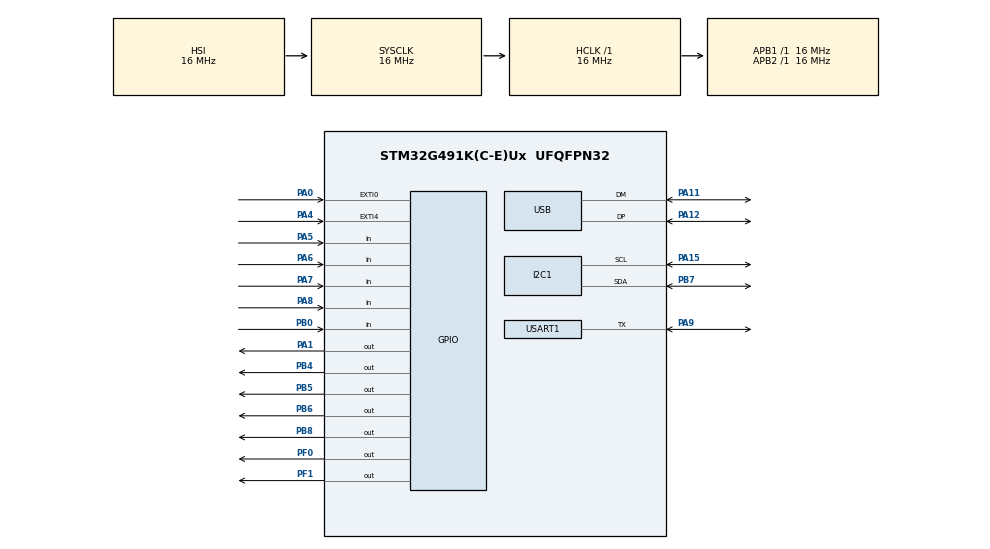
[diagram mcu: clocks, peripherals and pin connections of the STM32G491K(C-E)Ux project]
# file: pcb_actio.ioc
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I2C1.Timing=0x00503D58
Mcu.Family=STM32G4
Mcu.Name=STM32G491K(C-E)Ux
Mcu.Package=UFQFPN32
NVIC.EXTI0_IRQn=true\:0\:0\:false\:false\:true\:true\:true\:true
NVIC.EXTI4_IRQn=true\:0\:0\:false\:false\:true\:true\:true\:true
NVIC.PriorityGroup=NVIC_PRIORITYGROUP_4
NVIC.TIM1_UP_TIM16_IRQn=true\:0\:0\:false\:false\:true\:true\:true\:true
NVIC.USB_LP_IRQn=true\:0\:0\:false\:false\:true\:false\:true\:true
PA0.GPIO_ModeDefaultEXTI=GPIO_MODE_IT_RISING
PA0.GPIO_PuPd=GPIO_PULLUP
PA0.Signal=GPXTI0
PA1.Signal=GPIO_Output
PA10.Signal=USART1_RX
PA11.Mode=Device
PA11.Signal=USB_DM
PA12.Mode=Device
PA12.Signal=USB_DP
PA15.Mode=I2C
PA15.Signal=I2C1_SCL
PA4.GPIO_ModeDefaultEXTI=GPIO_MODE_IT_RISING_FALLING
PA4.GPIO_PuPd=GPIO_PULLUP
PA4.Signal=GPXTI4
PA5.GPIO_PuPd=GPIO_PULLUP
PA5.Signal=GPIO_Input
PA6.GPIO_PuPd=GPIO_PULLUP
PA6.Signal=GPIO_Input
PA7.GPIO_PuPd=GPIO_PULLUP
PA7.Signal=GPIO_Input
PA8.GPIO_PuPd=GPIO_PULLUP
PA8.Signal=GPIO_Input
PA9.Mode=Half_duplex(single_wire_mode)
PA9.Signal=USART1_TX
PB0.GPIO_PuPd=GPIO_PULLUP
PB0.Signal=GPIO_Input
PB4.Signal=GPIO_Output
PB5.Signal=GPIO_Output
PB6.Signal=GPIO_Output
PB7.Mode=I2C
PB7.Signal=I2C1_SDA
PB8-BOOT0.Signal=GPIO_Output
PF0-OSC_IN.Signal=GPIO_Output
PF1-OSC_OUT.Signal=GPIO_Output
ProjectManager.HeapSize=0x200
ProjectManager.StackSize=0x400
ProjectManager.TargetToolchain=CMake
RCC.AHBFreq_Value=16000000
RCC.APB1Freq_Value=16000000
RCC.APB1TimFreq_Value=16000000
RCC.APB2Freq_Value=16000000
RCC.APB2TimFreq_Value=16000000
RCC.CortexFreq_Value=16000000
RCC.EXTERNAL_CLOCK_VALUE=12288000
RCC.HCLKFreq_Value=16000000
RCC.HSE_VALUE=8000000
RCC.HSI48_VALUE=48000000
RCC.HSI_VALUE=16000000
RCC.LSE_VALUE=32768
RCC.SYSCLKFreq_VALUE=16000000
RCC.VCOOutputFreq_Value=128000000
TIM1.AutoReloadPreload=TIM_AUTORELOAD_PRELOAD_ENABLE
TIM1.Channel-PWM\ Generation1\ No\ Output=TIM_CHANNEL_1
TIM1.PeriodNoDither=499
TIM1.Prescaler=15999
USART1.VirtualMode-Half_duplex(single_wire_mode)=VM_ASYNC
USB_DEVICE.CLASS_NAME_FS=CDC
USB_DEVICE.VirtualMode=Cdc
USB_DEVICE.VirtualModeFS=Cdc_FS
VP_SYS_VS_DBSignals.Mode=DisableDeadBatterySignals
VP_TIM1_VS_ClockSourceINT.Mode=Internal
VP_TIM1_VS_no_output1.Mode=PWM Generation1 No Output
VP_USB_DEVICE_VS_USB_DEVICE_CDC_FS.Mode=CDC_FS
board=custom

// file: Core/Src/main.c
/* USER CODE BEGIN Header */
/**
  ******************************************************************************
  * @file           : main.c
  * @brief          : Main program body
  ******************************************************************************
  * @attention
  *
  * Copyright (c) 2025 STMicroelectronics.
  * All rights reserved.
  *
  * This software is licensed under terms that can be found in the LICENSE file
  * in the root directory of this software component.
  * If no LICENSE file comes with this software, it is provided AS-IS.
  *
  ******************************************************************************
  */
/* USER CODE END Header */
#include "main.h"
#include "usb_device.h"

/* USER CODE BEGIN Includes */
#include "actio.h"
#include "comm.h"
/* USER CODE END Includes */

I2C_HandleTypeDef hi2c1;

TIM_HandleTypeDef htim1;

UART_HandleTypeDef huart1;

/* USER CODE BEGIN PV */
Actionneurs act;
/* USER CODE END PV */

void SystemClock_Config(void);
static void MX_GPIO_Init(void);
static void MX_I2C1_Init(void);
static void MX_USART1_UART_Init(void);
static void MX_TIM1_Init(void);

/* USER CODE BEGIN 0 */
void HAL_GPIO_EXTI_Callback(uint16_t GPIO_Pin){
	if(GPIO_Pin == GPIO_PIN_0){
		if(tiretteStatus()){
			queue_event("TIR", "START");
			act.enJeu = 1;
			act.armementTirette = 0;
		}
	} else if(GPIO_Pin == GPIO_PIN_4){
		if(GPIO_PIN_SET == HAL_GPIO_ReadPin(GPIOA, GPIO_PIN_4)){
			queue_event("TIR", "ARM");
		} else {
			queue_event("TIR", "DIS");
			disarmTirette();
		}
	}
}

void HAL_TIM_PeriodElapsedCallback(TIM_HandleTypeDef *htim)
{
  if (htim->Instance == TIM1)
  {
    if(act.armementTirette){
    	// Clignottement sur tirette armee
    	if(act.etatLedArmement){
    		PCA9685_LEDOff(10);
    		act.etatLedArmement = 0;
    	} else {
    		PCA9685_LEDOn(10);
    		act.etatLedArmement = 1;
    	}
    } else {
    	if(act.enJeu){
    		// Eteint en jeu
    		PCA9685_LEDOff(10);
    	} else {
    		// Allume en attente d'armement
    		PCA9685_LEDOn(10);
    	}
    }
  }
}
/* USER CODE END 0 */

int main(void)
{

  /* MCU Configuration--------------------------------------------------------*/

  /* Reset of all peripherals, Initializes the Flash interface and the Systick. */
  HAL_Init();

  /* Configure the system clock */
  SystemClock_Config();

  /* Initialize all configured peripherals */
  MX_GPIO_Init();
  MX_I2C1_Init();
  MX_USART1_UART_Init();
  MX_USB_Device_Init();
  MX_TIM1_Init();
  /* USER CODE BEGIN 2 */
  HAL_TIM_Base_Start_IT(&htim1);
  initActionneurs();
  PCA9685_LEDOn(10);
  /* USER CODE END 2 */

  /* Infinite loop */
  while (1)
  {

  }
}

void SystemClock_Config(void)
{
  RCC_OscInitTypeDef RCC_OscInitStruct = {0};
  RCC_ClkInitTypeDef RCC_ClkInitStruct = {0};

  /** Configure the main internal regulator output voltage
  */
  HAL_PWREx_ControlVoltageScaling(PWR_REGULATOR_VOLTAGE_SCALE1);

  /** Initializes the RCC Oscillators according to the specified parameters
  * in the RCC_OscInitTypeDef structure.
  */
  RCC_OscInitStruct.OscillatorType = RCC_OSCILLATORTYPE_HSI|RCC_OSCILLATORTYPE_HSI48;
  RCC_OscInitStruct.HSIState = RCC_HSI_ON;
  RCC_OscInitStruct.HSICalibrationValue = RCC_HSICALIBRATION_DEFAULT;
  RCC_OscInitStruct.HSI48State = RCC_HSI48_ON;
  RCC_OscInitStruct.PLL.PLLState = RCC_PLL_NONE;
  if (HAL_RCC_OscConfig(&RCC_OscInitStruct) != HAL_OK)
  {
    Error_Handler();
  }

  /** Initializes the CPU, AHB and APB buses clocks
  */
  RCC_ClkInitStruct.ClockType = RCC_CLOCKTYPE_HCLK|RCC_CLOCKTYPE_SYSCLK
                              |RCC_CLOCKTYPE_PCLK1|RCC_CLOCKTYPE_PCLK2;
  RCC_ClkInitStruct.SYSCLKSource = RCC_SYSCLKSOURCE_HSI;
  RCC_ClkInitStruct.AHBCLKDivider = RCC_SYSCLK_DIV1;
  RCC_ClkInitStruct.APB1CLKDivider = RCC_HCLK_DIV1;
  RCC_ClkInitStruct.APB2CLKDivider = RCC_HCLK_DIV1;

  if (HAL_RCC_ClockConfig(&RCC_ClkInitStruct, FLASH_LATENCY_0) != HAL_OK)
  {
    Error_Handler();
  }
}

static void MX_I2C1_Init(void)
{

  hi2c1.Instance = I2C1;
  hi2c1.Init.Timing = 0x00503D58;
  hi2c1.Init.OwnAddress1 = 0;
  hi2c1.Init.AddressingMode = I2C_ADDRESSINGMODE_7BIT;
  hi2c1.Init.DualAddressMode = I2C_DUALADDRESS_DISABLE;
  hi2c1.Init.OwnAddress2 = 0;
  hi2c1.Init.OwnAddress2Masks = I2C_OA2_NOMASK;
  hi2c1.Init.GeneralCallMode = I2C_GENERALCALL_DISABLE;
  hi2c1.Init.NoStretchMode = I2C_NOSTRETCH_DISABLE;
  if (HAL_I2C_Init(&hi2c1) != HAL_OK)
  {
    Error_Handler();
  }

  /** Configure Analogue filter
  */
  if (HAL_I2CEx_ConfigAnalogFilter(&hi2c1, I2C_ANALOGFILTER_ENABLE) != HAL_OK)
  {
    Error_Handler();
  }

  /** Configure Digital filter
  */
  if (HAL_I2CEx_ConfigDigitalFilter(&hi2c1, 0) != HAL_OK)
  {
    Error_Handler();
  }

}

static void MX_TIM1_Init(void)
{

  TIM_ClockConfigTypeDef sClockSourceConfig = {0};
  TIM_MasterConfigTypeDef sMasterConfig = {0};
  TIM_OC_InitTypeDef sConfigOC = {0};
  TIM_BreakDeadTimeConfigTypeDef sBreakDeadTimeConfig = {0};

  htim1.Instance = TIM1;
  htim1.Init.Prescaler = 15999;
  htim1.Init.CounterMode = TIM_COUNTERMODE_UP;
  htim1.Init.Period = 499;
  htim1.Init.ClockDivision = TIM_CLOCKDIVISION_DIV1;
  htim1.Init.RepetitionCounter = 0;
  htim1.Init.AutoReloadPreload = TIM_AUTORELOAD_PRELOAD_ENABLE;
  if (HAL_TIM_Base_Init(&htim1) != HAL_OK)
  {
    Error_Handler();
  }
  sClockSourceConfig.ClockSource = TIM_CLOCKSOURCE_INTERNAL;
  if (HAL_TIM_ConfigClockSource(&htim1, &sClockSourceConfig) != HAL_OK)
  {
    Error_Handler();
  }
  if (HAL_TIM_PWM_Init(&htim1) != HAL_OK)
  {
    Error_Handler();
  }
  sMasterConfig.MasterOutputTrigger = TIM_TRGO_RESET;
  sMasterConfig.MasterOutputTrigger2 = TIM_TRGO2_RESET;
  sMasterConfig.MasterSlaveMode = TIM_MASTERSLAVEMODE_DISABLE;
  if (HAL_TIMEx_MasterConfigSynchronization(&htim1, &sMasterConfig) != HAL_OK)
  {
    Error_Handler();
  }
  sConfigOC.OCMode = TIM_OCMODE_PWM1;
  sConfigOC.Pulse = 0;
  sConfigOC.OCPolarity = TIM_OCPOLARITY_HIGH;
  sConfigOC.OCNPolarity = TIM_OCNPOLARITY_HIGH;
  sConfigOC.OCFastMode = TIM_OCFAST_DISABLE;
  sConfigOC.OCIdleState = TIM_OCIDLESTATE_RESET;
  sConfigOC.OCNIdleState = TIM_OCNIDLESTATE_RESET;
  if (HAL_TIM_PWM_ConfigChannel(&htim1, &sConfigOC, TIM_CHANNEL_1) != HAL_OK)
  {
    Error_Handler();
  }
  sBreakDeadTimeConfig.OffStateRunMode = TIM_OSSR_DISABLE;
  sBreakDeadTimeConfig.OffStateIDLEMode = TIM_OSSI_DISABLE;
  sBreakDeadTimeConfig.LockLevel = TIM_LOCKLEVEL_OFF;
  sBreakDeadTimeConfig.DeadTime = 0;
  sBreakDeadTimeConfig.BreakState = TIM_BREAK_DISABLE;
  sBreakDeadTimeConfig.BreakPolarity = TIM_BREAKPOLARITY_HIGH;
  sBreakDeadTimeConfig.BreakFilter = 0;
  sBreakDeadTimeConfig.BreakAFMode = TIM_BREAK_AFMODE_INPUT;
  sBreakDeadTimeConfig.Break2State = TIM_BREAK2_DISABLE;
  sBreakDeadTimeConfig.Break2Polarity = TIM_BREAK2POLARITY_HIGH;
  sBreakDeadTimeConfig.Break2Filter = 0;
  sBreakDeadTimeConfig.Break2AFMode = TIM_BREAK_AFMODE_INPUT;
  sBreakDeadTimeConfig.AutomaticOutput = TIM_AUTOMATICOUTPUT_DISABLE;
  if (HAL_TIMEx_ConfigBreakDeadTime(&htim1, &sBreakDeadTimeConfig) != HAL_OK)
  {
    Error_Handler();
  }

}

static void MX_USART1_UART_Init(void)
{

  huart1.Instance = USART1;
  huart1.Init.BaudRate = 115200;
  huart1.Init.WordLength = UART_WORDLENGTH_8B;
  huart1.Init.StopBits = UART_STOPBITS_1;
  huart1.Init.Parity = UART_PARITY_NONE;
  huart1.Init.Mode = UART_MODE_TX_RX;
  huart1.Init.HwFlowCtl = UART_HWCONTROL_NONE;
  huart1.Init.OverSampling = UART_OVERSAMPLING_16;
  huart1.Init.OneBitSampling = UART_ONE_BIT_SAMPLE_DISABLE;
  huart1.Init.ClockPrescaler = UART_PRESCALER_DIV1;
  huart1.AdvancedInit.AdvFeatureInit = UART_ADVFEATURE_NO_INIT;
  if (HAL_HalfDuplex_Init(&huart1) != HAL_OK)
  {
    Error_Handler();
  }
  if (HAL_UARTEx_SetTxFifoThreshold(&huart1, UART_TXFIFO_THRESHOLD_1_8) != HAL_OK)
  {
    Error_Handler();
  }
  if (HAL_UARTEx_SetRxFifoThreshold(&huart1, UART_RXFIFO_THRESHOLD_1_8) != HAL_OK)
  {
    Error_Handler();
  }
  if (HAL_UARTEx_DisableFifoMode(&huart1) != HAL_OK)
  {
    Error_Handler();
  }

}

static void MX_GPIO_Init(void)
{
  GPIO_InitTypeDef GPIO_InitStruct = {0};

  /* GPIO Ports Clock Enable */
  __HAL_RCC_GPIOF_CLK_ENABLE();
  __HAL_RCC_GPIOA_CLK_ENABLE();
  __HAL_RCC_GPIOB_CLK_ENABLE();

  /*Configure GPIO pin Output Level */
  HAL_GPIO_WritePin(GPIOF, GPIO_PIN_0|GPIO_PIN_1, GPIO_PIN_RESET);

  /*Configure GPIO pin Output Level */
  HAL_GPIO_WritePin(GPIOA, GPIO_PIN_1, GPIO_PIN_RESET);

  /*Configure GPIO pin Output Level */
  HAL_GPIO_WritePin(GPIOB, GPIO_PIN_4|GPIO_PIN_5|GPIO_PIN_6|GPIO_PIN_8, GPIO_PIN_RESET);

  /*Configure GPIO pins : PF0 PF1 */
  GPIO_InitStruct.Pin = GPIO_PIN_0|GPIO_PIN_1;
  GPIO_InitStruct.Mode = GPIO_MODE_OUTPUT_PP;
  GPIO_InitStruct.Pull = GPIO_NOPULL;
  GPIO_InitStruct.Speed = GPIO_SPEED_FREQ_LOW;
  HAL_GPIO_Init(GPIOF, &GPIO_InitStruct);

  /*Configure GPIO pin : PA0 */
  GPIO_InitStruct.Pin = GPIO_PIN_0;
  GPIO_InitStruct.Mode = GPIO_MODE_IT_RISING;
  GPIO_InitStruct.Pull = GPIO_PULLUP;
  HAL_GPIO_Init(GPIOA, &GPIO_InitStruct);

  /*Configure GPIO pin : PA1 */
  GPIO_InitStruct.Pin = GPIO_PIN_1;
  GPIO_InitStruct.Mode = GPIO_MODE_OUTPUT_PP;
  GPIO_InitStruct.Pull = GPIO_NOPULL;
  GPIO_InitStruct.Speed = GPIO_SPEED_FREQ_LOW;
  HAL_GPIO_Init(GPIOA, &GPIO_InitStruct);

  /*Configure GPIO pin : PA4 */
  GPIO_InitStruct.Pin = GPIO_PIN_4;
  GPIO_InitStruct.Mode = GPIO_MODE_IT_RISING_FALLING;
  GPIO_InitStruct.Pull = GPIO_PULLUP;
  HAL_GPIO_Init(GPIOA, &GPIO_InitStruct);

  /*Configure GPIO pins : PA5 PA6 PA7 PA8 */
  GPIO_InitStruct.Pin = GPIO_PIN_5|GPIO_PIN_6|GPIO_PIN_7|GPIO_PIN_8;
  GPIO_InitStruct.Mode = GPIO_MODE_INPUT;
  GPIO_InitStruct.Pull = GPIO_PULLUP;
  HAL_GPIO_Init(GPIOA, &GPIO_InitStruct);

  /*Configure GPIO pin : PB0 */
  GPIO_InitStruct.Pin = GPIO_PIN_0;
  GPIO_InitStruct.Mode = GPIO_MODE_INPUT;
  GPIO_InitStruct.Pull = GPIO_PULLUP;
  HAL_GPIO_Init(GPIOB, &GPIO_InitStruct);

  /*Configure GPIO pins : PB4 PB5 PB6 PB8 */
  GPIO_InitStruct.Pin = GPIO_PIN_4|GPIO_PIN_5|GPIO_PIN_6|GPIO_PIN_8;
  GPIO_InitStruct.Mode = GPIO_MODE_OUTPUT_PP;
  GPIO_InitStruct.Pull = GPIO_NOPULL;
  GPIO_InitStruct.Speed = GPIO_SPEED_FREQ_LOW;
  HAL_GPIO_Init(GPIOB, &GPIO_InitStruct);

  /* EXTI interrupt init*/
  HAL_NVIC_SetPriority(EXTI0_IRQn, 0, 0);
  HAL_NVIC_EnableIRQ(EXTI0_IRQn);

  HAL_NVIC_SetPriority(EXTI4_IRQn, 0, 0);
  HAL_NVIC_EnableIRQ(EXTI4_IRQn);

}

void Error_Handler(void)
{
  __disable_irq();
  while (1)
  {
  }
}
